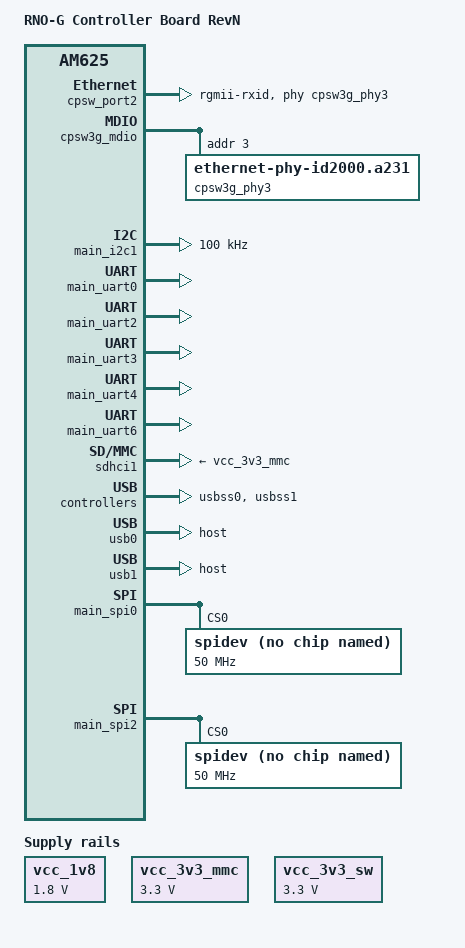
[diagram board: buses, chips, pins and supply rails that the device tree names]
// SPDX-License-Identifier: GPL-2.0-only OR MIT
/*
 * Copyright (C) 2025- RNO-G collaboration
 * Author: Cosmin Deaconu <cozzyd@kicp.uchicago.edu>

 * Modified lyra-rdk from
 * Copyright (C) 2022-2024 PHYTEC Messtechnik GmbH
 * Author: Wadim Egorov <w.egorov@phytec.de>
 *
 */

#include <dt-bindings/gpio/gpio.h>
#include <dt-bindings/input/input.h>
#include <dt-bindings/net/ti-dp83867.h>
#include "k3-am625.dtsi"
#include "k3-am62-phycore-som.dtsi"

/ {

	compatible = "rno-g,am625-rno-g-revN",
		     "phytec,am62-phycore-som", "ti,am625";
	model = "RNO-G Controller Board RevN";

	aliases {
		serial0 = &main_uart2;
		serial2 = &main_uart0;
		serial3 = &main_uart3;
		serial4 = &main_uart4;
		serial6 = &main_uart6;
		mmc1 = &sdhci1;
		usb0 = &usb0;
		usb1 = &usb1;
    spi1 = &main_spi0;
    spi2 = &main_spi2;
    ethernet1= &cpsw_port2;
    i2c1 = &main_i2c1;
	};

	vcc_1v8: regulator-vcc-1v8 {
		compatible = "regulator-fixed";
		regulator-name = "VCC_1V8";
		regulator-min-microvolt = <1800000>;
		regulator-max-microvolt = <1800000>;
		regulator-always-on;
		regulator-boot-on;
	};


	vcc_3v3_mmc: regulator-vcc-3v3-mmc {
		compatible = "regulator-fixed";
		regulator-name = "VCC_3V3_MMC";
		regulator-min-microvolt = <3300000>;
		regulator-max-microvolt = <3300000>;
		regulator-always-on;
		regulator-boot-on;
		bootph-all;
	};

	vcc_3v3_sw: regulator-vcc-3v3-sw {
		compatible = "regulator-fixed";
		regulator-name = "VCC_3V3_SW";
		regulator-min-microvolt = <3300000>;
		regulator-max-microvolt = <3300000>;
		regulator-always-on;
		regulator-boot-on;
	};
};

&main_pmx0 {


	main_i2c1_pins_default: main-i2c1-default-pins {
		pinctrl-single,pins = <
			AM62X_IOPAD(0x1e8, PIN_INPUT_PULLUP, 0) /* (B17) I2C1_SCL */
			AM62X_IOPAD(0x1ec, PIN_INPUT_PULLUP, 0) /* (A17) I2C1_SDA */
		>;
	};

	main_mmc1_pins_default: main-mmc1-default-pins {
		pinctrl-single,pins = <
			AM62X_IOPAD(0x23c, PIN_INPUT_PULLUP, 0) /* (A21) MMC1_CMD */
			AM62X_IOPAD(0x234, PIN_INPUT_PULLDOWN, 0) /* (B22) MMC1_CLK */
			AM62X_IOPAD(0x230, PIN_INPUT_PULLUP, 0) /* (A22) MMC1_DAT0 */
			AM62X_IOPAD(0x22c, PIN_INPUT_PULLUP, 0) /* (B21) MMC1_DAT1 */
			AM62X_IOPAD(0x228, PIN_INPUT_PULLUP, 0) /* (C21) MMC1_DAT2 */
			AM62X_IOPAD(0x224, PIN_INPUT_PULLUP, 0) /* (D22) MMC1_DAT3 */
			AM62X_IOPAD(0x240, PIN_INPUT_PULLUP, 0) /* (D17) MMC1_SDCD */
		>;
		bootph-all;
	};

	main_uart0_pins_default: main-uart0-default-pins {
		pinctrl-single,pins = <
			AM62X_IOPAD(0x1c8, PIN_INPUT, 0) /* (D14) UART0_RXD */
			AM62X_IOPAD(0x1cc, PIN_OUTPUT, 0) /* (E14) UART0_TXD */
		>;
		bootph-all;
	};

	main_uart2_pins_default: main-uart2-default-pins {
		pinctrl-single,pins = <
			AM62X_IOPAD(0x1d0, PIN_INPUT, 3) /* (A15) UARTO_CTSn.UART2_RXD */
			AM62X_IOPAD(0x1d4, PIN_OUTPUT, 3) /* (B15) UART0.RTSn.UART2_TXD */
		>;
		bootph-pre-ram;
	};

	main_uart3_pins_default: main-uart3-default-pins {
		pinctrl-single,pins = <
			AM62X_IOPAD(0x0c0, PIN_INPUT, 4) /* (W25) VOUT0_DATA2.UART3_RXD */
			AM62X_IOPAD(0x0c4, PIN_OUTPUT, 4) /* (W24) VOUT0_DATA3.UART3_TXD */
		>;
		bootph-pre-ram;
	};


	main_uart4_pins_default: main-uart4-default-pins {
		pinctrl-single,pins = <
			AM62X_IOPAD(0x0124, PIN_INPUT, 3) /* (A23) MMC2_SDCD.UART4_RXD */
			AM62X_IOPAD(0x0128, PIN_OUTPUT, 3) /* (B23) MMC2_SDWP.UART4_TXD */
		>;
		bootph-pre-ram;
	};

	main_uart6_pins_default: main-uart6-default-pins {
		pinctrl-single,pins = <
			AM62X_IOPAD(0x118, PIN_INPUT, 4) /* (D25) MMC2_CLK.UART6_RXD */
			AM62X_IOPAD(0x120, PIN_OUTPUT, 4) /* (C24) MMC2_CMD.UART6_TXD */
		>;
		bootph-pre-ram;
	};



	main_usb1_pins_default: main-usb1-default-pins {
		pinctrl-single,pins = <
			AM62X_IOPAD(0x258, PIN_OUTPUT, 0) /* (F18) USB1_DRVVBUS */
		>;
	};


	main_usb0_pins_default: main-usb0-default-pins {
		pinctrl-single,pins = <
			AM62X_IOPAD(0x254, PIN_OUTPUT, 0) /* (C20) USB0_DRVVBUS */
		>;
  };

	main_spi0_pins_default: main-spi0-pins-default {
		pinctrl-single,pins = <
		AM62X_IOPAD(0x01bc, PIN_INPUT, 0)       /* (A14) SPI0_CLK */
		AM62X_IOPAD(0x01b4, PIN_OUTPUT, 0)      /* (A13) SPI0_CS0 */
		AM62X_IOPAD(0x01c0, PIN_INPUT, 0)      /* (B13) SPI0_D0 */
		AM62X_IOPAD(0x01c4, PIN_OUTPUT, 0)       /* (B14) SPI0_D1 */
		>;
	};

	main_spi2_pins_default: main-spi2-pins-default {
		pinctrl-single,pins = <
			AM62X_IOPAD(0x01b0, PIN_INPUT, 1)       /* (A20, mux1) SPI2_CLK */
			AM62X_IOPAD(0x01a4, PIN_OUTPUT, 1)      /* (B20, mux1) SPI2_CS1 */
			AM62X_IOPAD(0x0194, PIN_INPUT, 1)      /* (B19, mux1) SPI2_D0 */
			AM62X_IOPAD(0x0198, PIN_OUTPUT, 1)       /* (A19, mux1) SPI2_D1 */
		>;
	};


	main_rgmii2_pins_default: main-rgmii2-pins-default {
		pinctrl-single,pins = <
			AM62X_IOPAD(0x184, PIN_INPUT, 0) /* (AE23) RGMII2_RD0 */
			AM62X_IOPAD(0x188, PIN_INPUT, 0) /* (AB20) RGMII2_RD1 */
			AM62X_IOPAD(0x18c, PIN_INPUT, 0) /* (AC21) RGMII2_RD2 */
			AM62X_IOPAD(0x190, PIN_INPUT, 0) /* (AE22) RGMII2_RD3 */
			AM62X_IOPAD(0x180, PIN_INPUT, 0) /* (AD23) RGMII2_RXC */
			AM62X_IOPAD(0x17c, PIN_INPUT, 0) /* (AD22) RGMII2_RX_CTL */
			AM62X_IOPAD(0x16c, PIN_OUTPUT, 0) /* (Y18) RGMII2_TD0 */
			AM62X_IOPAD(0x170, PIN_OUTPUT, 0) /* (AA18) RGMII2_TD1 */
			AM62X_IOPAD(0x174, PIN_OUTPUT, 0) /* (AD21) RGMII2_TD2 */
			AM62X_IOPAD(0x178, PIN_OUTPUT, 0) /* (AC20) RGMII2_TD3 */
			AM62X_IOPAD(0x168, PIN_OUTPUT, 0) /* (AE21) RGMII2_TXC */
			AM62X_IOPAD(0x164, PIN_OUTPUT, 0) /* (AA19) RGMII2_TX_CTL */
		>;
	};

  pinctrl_rno_g_gpio0: rno-g-gpio0-pins {
    pinctrl-single,pins = <
			AM62X_IOPAD(0x007c, PIN_INPUT, 7) /* (P25) GPMC0_CLK.GPIO0_31 */
			AM62X_IOPAD(0x0084, PIN_INPUT, 7) /* (L23) GPMC0_ADVn_ALE.GPIO0_32 */
			AM62X_IOPAD(0x0088, PIN_INPUT, 7) /* (L24) GPMC0_OEn_REn.GPIO0_33 */
			AM62X_IOPAD(0x008c, PIN_INPUT, 7) /* (L25) GPMC0_WEn.GPIO0_34 */
			AM62X_IOPAD(0x0090, PIN_INPUT, 7) /* (M24) GPMC0_BE0n_CLE.GPIO0_35 */
			AM62X_IOPAD(0x0094, PIN_INPUT, 7) /* (N20) GPMC0_BE1n.GPIO0_36 */
			AM62X_IOPAD(0x0098, PIN_INPUT, 7) /* (U23) GPMC0_WAIT0.GPIO0_37 */
			AM62X_IOPAD(0x00a4, PIN_INPUT, 7) /* (M22) GPMC0_DIR.GPIO0_40 */
			AM62X_IOPAD(0x00b4, PIN_INPUT, 7) /* (K24) GPMC0_CSn3.GPIO0_44 */
			AM62X_IOPAD(0x00bc, PIN_INPUT, 7) /* (V24) VOUT0_DATA1.GPIO0_46 */
			AM62X_IOPAD(0x00c8, PIN_INPUT, 7) /* (Y25) VOUT0_DATA4.GPIO0_49 */
    >;
  };

  pinctrl_rno_g_gpio1: rno-g-gpio1-pins {
    pinctrl-single,pins = <
		AM62X_IOPAD(0x0178, PIN_INPUT, 7) /* (AC20) RGMII2_TD3.GPIO1_0 */
		AM62X_IOPAD(0x017c, PIN_INPUT, 7) /* (AD22) RGMII2_RX_CTL.GPIO1_1 */
		AM62X_IOPAD(0x0180, PIN_INPUT, 7) /* (AD23) RGMII2_RXC.GPIO1_2 */
		AM62X_IOPAD(0x0184, PIN_INPUT, 7) /* (AE23) RGMII2_RD0.GPIO1_3 */
		AM62X_IOPAD(0x0188, PIN_INPUT, 7) /* (AB20) RGMII2_RD1.GPIO1_4 */
		AM62X_IOPAD(0x018c, PIN_INPUT, 7) /* (AC21) RGMII2_RD2.GPIO1_5 */
		AM62X_IOPAD(0x0190, PIN_INPUT, 7) /* (AE22) RGMII2_RD3.GPIO1_6 */
   >;
	};

};

&cpsw3g {
	pinctrl-names = "default";
	pinctrl-0 = <&main_rgmii1_pins_default>;
};

&cpsw_port2 {
    phy-mode = "rgmii-rxid";
      phy-handle = <&cpsw3g_phy3>;
};

&cpsw3g_mdio {
    cpsw3g_phy3: ethernet-phy@3 {
          compatible = "ethernet-phy-id2000.a231", "ethernet-phy-ieee802.3-c22";
           reg = <3>;
           ti,clk-output-sel = <DP83867_CLK_O_SEL_OFF>;
           ti,rx-internal-delay = <DP83867_RGMIIDCTL_2_50_NS>;
           ti,fifo-depth = <DP83867_PHYCR_FIFO_DEPTH_4_B_NIB>;
           };
};



&main_i2c1 {
	pinctrl-names = "default";
	pinctrl-0 = <&main_i2c1_pins_default>;
	clock-frequency = <100000>;
	status = "okay";
};

&i2c_som_rtc {
    enable-level-switching-mode;
};

&main_uart0 {
	pinctrl-names = "default";
	pinctrl-0 = <&main_uart0_pins_default>;
	bootph-all;
	status = "okay";
};

&main_uart2 {
	pinctrl-names = "default";
	pinctrl-0 = <&main_uart2_pins_default>;
	bootph-all;
	status = "okay";
};

&main_uart3 {
	pinctrl-names = "default";
	pinctrl-0 = <&main_uart3_pins_default>;
	bootph-pre-ram;
	status = "okay";
};

&main_uart4 {
	pinctrl-names = "default";
	pinctrl-0 = <&main_uart4_pins_default>;
	bootph-all;
	status = "okay";
};



&main_uart6 {
	pinctrl-names = "default";
	pinctrl-0 = <&main_uart6_pins_default>;
	bootph-all;
	status = "okay";
};


&sdhci1 {
	vmmc-supply = <&vcc_3v3_mmc>;
	vqmmc-supply = <&vddshv5_sdio>;
	pinctrl-names = "default";
	pinctrl-0 = <&main_mmc1_pins_default>;
	disable-wp;
	no-1-8-v;
	bootph-all;
	status = "okay";
};

&usbss0 {
	ti,vbus-divider;
	bootph-all;
	status = "okay";
};

&usbss1 {
	ti,vbus-divider;
  bootph-all;
	status = "okay";
};

&usb0 {
	dr_mode = "host";
	pinctrl-names = "default";
	pinctrl-0 = <&main_usb0_pins_default>;
};

&usb1 {
	dr_mode = "host";
	pinctrl-names = "default";
	pinctrl-0 = <&main_usb1_pins_default>;
};

&main_spi0 {
	#address-cells = <1>;
	#size-cells = <0>;

	status = "okay";
	pinctrl-names = "default";
	pinctrl-0 = <&main_spi0_pins_default>;

	spidev@0 {
		spi-max-frequency = <50000000>;
		reg = <0>;
		compatible = "rohm,dh2228fv";
	};
};

&main_spi2 {
	#address-cells = <1>;
	#size-cells = <0>;

	status = "okay";
	pinctrl-names = "default";
	pinctrl-0 = <&main_spi2_pins_default>;

	spidev@0 {
		spi-max-frequency = <50000000>;
		reg = <0>;
		compatible = "rohm,dh2228fv";
  };
};


&main_gpio0 {

  pinctrl-names = "default";
  pinctrl-0 = <&pinctrl_rno_g_gpio0>;
  status = "okay";
  gpio-line-names =
   "", /*GPIO0_0*/
   "", /*GPIO0_1*/
   "", /*GPIO0_2*/
   "", /*GPIO0_3*/
   "", /*GPIO0_4*/
   "", /*GPIO0_5*/
   "", /*GPIO0_6*/
   "", /*GPIO0_7*/
   "", /*GPIO0_8*/
   "", /*GPIO0_9*/
   "", /*GPIO0_10*/
   "", /*GPIO0_11*/
   "", /*GPIO0_12*/
   "", /*GPIO0_13*/
   "", /*GPIO0_14*/
   "", /*GPIO0_15*/
   "", /*GPIO0_16*/
   "", /*GPIO0_17*/
   "", /*GPIO0_18*/
   "", /*GPIO0_19*/
   "", /*GPIO0_20*/
   "", /*GPIO0_21*/
   "", /*GPIO0_22*/
   "", /*GPIO0_23*/
   "", /*GPIO0_24*/
   "", /*GPIO0_25*/
   "", /*GPIO0_26*/
   "", /*GPIO0_27*/
   "", /*GPIO0_28*/
   "", /*GPIO0_29*/
   "", /*GPIO0_30*/
   "AUX3V_EN",   /*GPIO0_31*/
   "CAL_EN",     /*GPIO0_32*/
   "MCU_GPIO0",  /*GPIO0_33*/
   "5V2_EN",     /*GPIO0_34*/
   "GPS_EN",     /*GPIO0_35*/
   "MCU_GPIO2",  /*GPIO0_36*/
   "AUX5V_EN",   /*GPIO0_37*/
   "", /*GPIO0_38*/
   "", /*GPIO0_39*/
   "5V1_EN", /*GPIO0_40*/
   "", /*GPIO0_41*/
   "", /*GPIO0_42*/
   "", /*GPIO0_43*/
   "PPS_SELECT", /*GPIO0_44*/
   "", /*GPIO0_45*/
   "GPOUT_OD1", /*GPIO0_46*/
   "", /*GPIO0_47*/
   "", /*GPIO0_48*/
   "GPOUT_OD2", /*GPIO0_49*/
   "", /*GPIO0_50*/
   "", /*GPIO0_51*/
   "", /*GPIO0_52*/
   "", /*GPIO0_53*/
   "", /*GPIO0_54*/
   "", /*GPIO0_55*/
   "", /*GPIO0_56*/
   "", /*GPIO0_57*/
   "", /*GPIO0_58*/
   "", /*GPIO0_59*/
   "", /*GPIO0_60*/
   "", /*GPIO0_61*/
   "", /*GPIO0_62*/
   "", /*GPIO0_63*/
   "", /*GPIO0_64*/
   "", /*GPIO0_65*/
   "", /*GPIO0_66*/
   "", /*GPIO0_67*/
   "", /*GPIO0_68*/
   "", /*GPIO0_69*/
   "", /*GPIO0_70*/
   "", /*GPIO0_71*/
   "", /*GPIO0_72*/
   "", /*GPIO0_73*/
   "", /*GPIO0_74*/
   "", /*GPIO0_75*/
   "", /*GPIO0_76*/
   "", /*GPIO0_77*/
   "", /*GPIO0_78*/
   "", /*GPIO0_79*/
   "", /*GPIO0_80*/
   "", /*GPIO0_81*/
   "", /*GPIO0_82*/
   "", /*GPIO0_83*/
   "", /*GPIO0_84*/
   "", /*GPIO0_85*/
   "", /*GPIO0_86*/
   "", /*GPIO0_87*/
   "", /*GPIO0_88*/
   "", /*GPIO0_89*/
   "", /*GPIO0_90*/
   "" /*GPIO0_91*/
    ;
};

&main_gpio1 {

  pinctrl-names = "default";
  pinctrl-0 = <&pinctrl_rno_g_gpio1>;
  status = "okay";
  gpio-line-names =
    "EXTI2C_EN",  /*GPIO1_0*/
    "DAQ_A1",     /*GPIO1_1*/
    "DAQ_B1",     /*GPIO1_2*/
    "DAQ_B0",     /*GPIO1_3*/
    "DAQ_A0",     /*GPIO1_4*/
    "MCU_GPIO3",  /*GPIO1_5*/
    "NSPIBUS_EN", /*GPIO1_6*/
    "", /*GPIO1_7*/
    "", /*GPIO1_8*/
    "", /*GPIO1_9*/
    "", /*GPIO1_10*/
    "", /*GPIO1_11*/
    "", /*GPIO1_12*/
    "", /*GPIO1_13*/
    "", /*GPIO1_14*/
    "", /*GPIO1_15*/
    "", /*GPIO1_16*/
    "", /*GPIO1_17*/
    "", /*GPIO1_18*/
    "", /*GPIO1_19*/
    "", /*GPIO1_20*/
    "", /*GPIO1_21*/
    "", /*GPIO1_22*/
    "", /*GPIO1_23*/
    "", /*GPIO1_24*/
    "", /*GPIO1_25*/
    "", /*GPIO1_26*/
    "", /*GPIO1_27*/
    "", /*GPIO1_28*/
    "", /*GPIO1_29*/
    "", /*GPIO1_30*/
    "", /*GPIO1_31*/
    "", /*GPIO1_32*/
    "", /*GPIO1_33*/
    "", /*GPIO1_34*/
    "", /*GPIO1_35*/
    "", /*GPIO1_36*/
    "", /*GPIO1_37*/
    "", /*GPIO1_38*/
    "", /*GPIO1_39*/
    "", /*GPIO1_40*/
    "", /*GPIO1_41*/
    "", /*GPIO1_42*/
    "", /*GPIO1_43*/
    "", /*GPIO1_44*/
    "", /*GPIO1_45*/
    "", /*GPIO1_46*/
    "", /*GPIO1_47*/
    "", /*GPIO1_48*/
    "", /*GPIO1_49*/
    "", /*GPIO1_50*/
    "" /*GPIO1_51*/;
};


&gpu
{
  status = "disabled";
};
